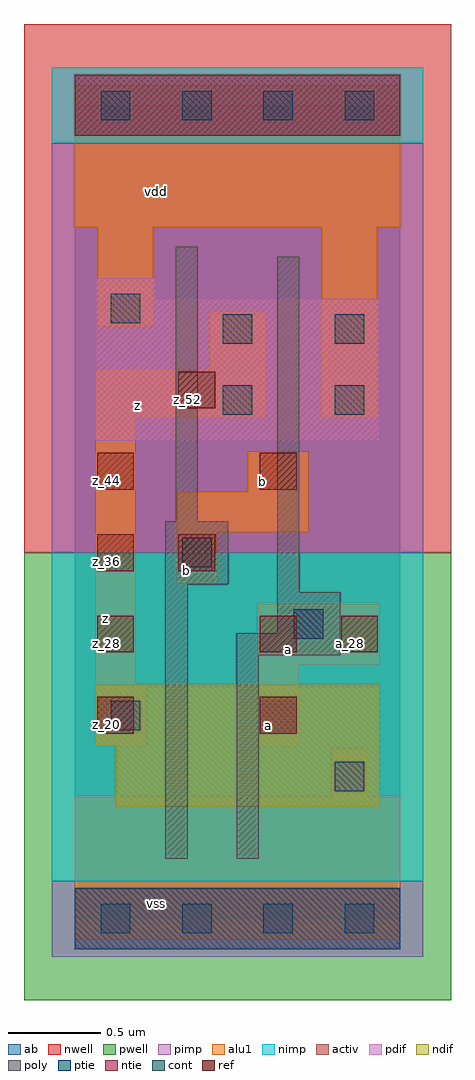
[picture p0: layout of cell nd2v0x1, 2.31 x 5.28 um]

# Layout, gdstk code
import gdstk
lib = gdstk.Library(unit=1e-6, precision=2.5e-09)
def R(c, l, rs):  # rectangles x0, y0, x1, y1
    for r in rs: c.add(gdstk.rectangle(r[:2], r[2:], *l))
def A(c, l, x, y, w, h, nx, ny, dx, dy):  # array of equal rectangles
    R(c, l, [(x+i*dx, y+j*dy, x+i*dx+w, y+j*dy+h) for i in range(nx) for j in range(ny)])
ndif = (3, 0)
pdif = (4, 0)
ntie = (5, 0)
ptie = (6, 0)
ref = (24, 0)
cont = (25, 0)
pwell = (41, 0)
nwell = (42, 0)
activ = (43, 0)
pimp = (44, 0)
nimp = (45, 0)
poly = (46, 0)
alu1 = (49, 0)
ab = (63, 0)

nd2v0x1 = lib.new_cell('nd2v0x1')
R(nd2v0x1, ndif, [(0.22,0.605,1.65,0.935), (0.11,0.935,1.65,1.265)])
R(nd2v0x1, pdif, [(0.11,2.585,1.65,3.355), (0.11,3.355,0.44,3.465)])
R(nd2v0x1, ntie, [(0,4.235,1.76,4.565)])
R(nd2v0x1, ptie, [(0,-0.165,1.76,0.165)])
A(nd2v0x1, ref, 0.12, 1, 0.2, 0.2, 1, 4, 0, 0.44)
R(nd2v0x1, ref, [(1,1,1.2,1.2), (1,1.44,1.2,1.64), (1.44,1.44,1.64,1.64), (0.56,1.88,0.76,2.08), (1,2.32,1.2,2.52), (0.56,2.76,0.76,2.96)])
A(nd2v0x1, cont, 0.14, -0.08, 0.16, 0.16, 4, 2, 0.44, 4.4)
R(nd2v0x1, cont, [(1.405,0.69,1.565,0.85), (0.195,1.02,0.355,1.18), (1.185,1.515,1.345,1.675), (0.58,1.9,0.74,2.06), (0.8,2.725,0.96,2.885), (1.405,2.725,1.565,2.885), (0.8,3.11,0.96,3.27), (1.405,3.11,1.565,3.27), (0.195,3.22,0.355,3.38)])
R(nd2v0x1, pwell, [(-0.275,-0.44,2.035,1.98)])
R(nd2v0x1, nwell, [(-0.275,1.98,2.035,4.84)])
R(nd2v0x1, activ, [(0,-0.165,1.76,0.165), (0.22,0.605,1.65,0.935), (0.11,0.935,1.65,1.265), (0.11,2.585,1.65,3.355), (0.11,3.355,0.44,3.465), (0,4.235,1.76,4.565)])
R(nd2v0x1, pimp, [(-0.125,-0.205,1.885,0.205), (-0.125,1.98,1.885,4.195)])
R(nd2v0x1, nimp, [(-0.125,0.205,1.885,1.98), (-0.125,4.195,1.885,4.605)])
R(nd2v0x1, poly, [(0.49,0.325,0.61,1.81), (0.875,0.325,0.995,1.425), (0.875,1.425,1.435,1.545), (1.095,1.545,1.435,1.765), (1.095,1.765,1.215,3.58), (0.49,1.81,0.83,2.15), (0.545,2.15,0.665,3.635)])
R(nd2v0x1, alu1, [(0,-0.11,1.76,0.66), (1.39,0.66,1.58,0.92), (0.11,0.935,0.385,1.265), (0.99,0.935,1.21,1.375), (0.11,1.265,0.33,2.71), (0.99,1.375,1.65,1.705), (0.55,1.815,0.77,2.09), (0.55,2.09,1.265,2.31), (0.935,2.31,1.265,2.53), (0.11,2.71,1.03,2.97), (1.335,2.71,1.635,3.74), (0.73,2.97,1.03,3.285), (0.125,3.205,0.425,3.74), (0,3.74,1.76,4.51)])
R(nd2v0x1, ab, [(0,0,1.76,4.4)])
nd2v0x1.add(gdstk.Label('vss', (0.44,0.0825), layer=49, texttype=0))
nd2v0x1.add(gdstk.Label('a', (1.045,1.045), layer=49, texttype=0))
nd2v0x1.add(gdstk.Label('a', (1.155,1.4575), layer=49, texttype=0))
nd2v0x1.add(gdstk.Label('b', (0.605,1.8825), layer=49, texttype=0))
nd2v0x1.add(gdstk.Label('b', (1.0175,2.365), layer=49, texttype=0))
nd2v0x1.add(gdstk.Label('z', (0.165,1.625), layer=49, texttype=0))
nd2v0x1.add(gdstk.Label('z', (0.34,2.775), layer=49, texttype=0))
nd2v0x1.add(gdstk.Label('vdd', (0.44,3.9325), layer=49, texttype=0))
nd2v0x1.add(gdstk.Label('z_20', (0.17,1.05), layer=24, texttype=0))
nd2v0x1.add(gdstk.Label('z_52', (0.61,2.81), layer=24, texttype=0))
nd2v0x1.add(gdstk.Label('z_44', (0.17,2.37), layer=24, texttype=0))
nd2v0x1.add(gdstk.Label('b_36', (0.61,1.93), layer=24, texttype=0))
nd2v0x1.add(gdstk.Label('b_44', (1.05,2.37), layer=24, texttype=0))
nd2v0x1.add(gdstk.Label('a_20', (1.05,1.05), layer=24, texttype=0))
nd2v0x1.add(gdstk.Label('a_28', (1.49,1.49), layer=24, texttype=0))
nd2v0x1.add(gdstk.Label('a_28', (1.05,1.49), layer=24, texttype=0))
nd2v0x1.add(gdstk.Label('z_28', (0.17,1.49), layer=24, texttype=0))
nd2v0x1.add(gdstk.Label('z_36', (0.17,1.93), layer=24, texttype=0))

lib.write_gds('nd2v0x1.gds')
